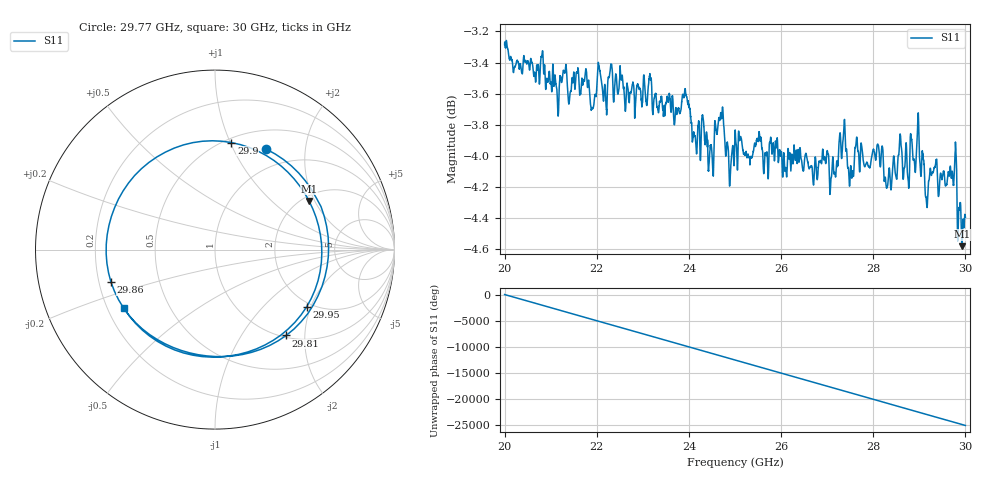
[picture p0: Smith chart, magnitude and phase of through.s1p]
#  HZ  S  RI  R  50.00
! Rohde & Schwarz ZVA40 4Ports - Version 3.90 - 1145.1110k42 SN: 100403
! Date: 2023-10-03 13:09:29
! Measurement: S12
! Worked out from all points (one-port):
!   5001 points, 20 GHz to 30 GHz, reference 50 ohm
!   lowest |S11| = -4.6 dB at 29.93 GHz (marker M1), VSWR 3.88, Z = 109 + j90.4 ohm
!   |S11| at or under -10 dB: nowhere
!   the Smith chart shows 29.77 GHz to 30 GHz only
!   S11 on the Smith chart (normalised r, x): 29.77 GHz: 0.74, +1.36; 29.81 GHz: 1.04, -1.61; 29.86 GHz: 0.25, -0.14; 29.9 GHz: 0.54, +1.01; 29.95 GHz: 1.86, -1.87; 30 GHz: 0.27, -0.27
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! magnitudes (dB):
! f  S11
! 20 GHz  -3.3
! 21.25 GHz  -3.5
! 21.9 GHz  -3.7
! 22.05 GHz  -3.4
! 22.5 GHz  -3.5
! 23.75 GHz  -3.7
! 23.91 GHz  -3.6
! 24.48 GHz  -3.9
! 24.7 GHz  -3.7
! 24.88 GHz  -4.2
! 25 GHz  -3.9
! 26.25 GHz  -4.0
! 27.1 GHz  -4.1
! 27.38 GHz  -3.8
! 27.5 GHz  -4.1
! 27.64 GHz  -3.9
! 28.28 GHz  -4.2
! 28.75 GHz  -4.1
! 28.97 GHz  -3.7
! 29.17 GHz  -4.3
! 29.77 GHz  -4.0
! 29.81 GHz  -4.1
! 29.86 GHz  -4.3
! 29.9 GHz  -4.4
! 29.93 GHz  -4.6
! 29.95 GHz  -4.4
! 30 GHz  -4.4
! 30 GHz  -4.4
